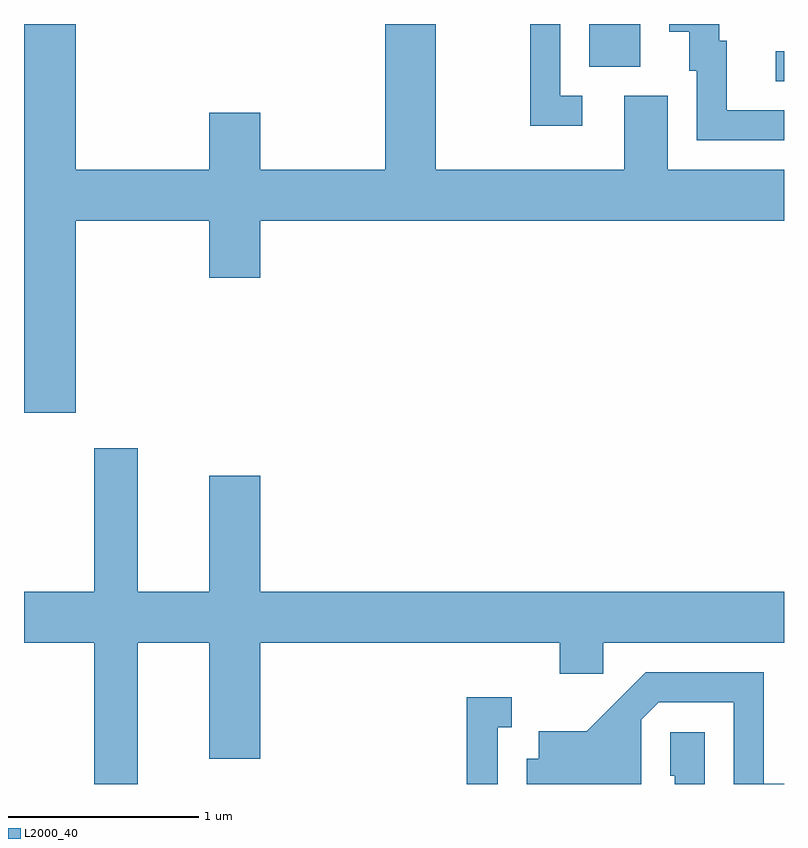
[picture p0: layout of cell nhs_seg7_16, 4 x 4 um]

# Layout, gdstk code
import gdstk
lib = gdstk.Library(unit=1e-6, precision=1e-09)
def R(c, l, rs):  # rectangles x0, y0, x1, y1
    for r in rs: c.add(gdstk.rectangle(r[:2], r[2:], *l))
def P(c, l, *ps):  # polygons
    for p in ps: c.add(gdstk.Polygon(p, *l))
L2000_40 = (2000, 40)

nhs_seg7_16 = lib.new_cell('nhs_seg7_16')
R(nhs_seg7_16, L2000_40, [(189.568,1703.951,189.611,1704.109), (188.586,1704.026,188.854,1704.252)])
P(nhs_seg7_16, L2000_40, [(185.884,1703.216),(186.586,1703.216),(186.586,1702.916),(186.854,1702.916),(186.854,1703.216),(189.611,1703.216),(189.611,1703.484),(188.999,1703.484),(188.999,1703.874),(188.771,1703.874),(188.771,1703.484),(187.779,1703.484),(187.779,1704.252),(187.511,1704.252),(187.511,1703.484),(186.854,1703.484),(186.854,1703.784),(186.586,1703.784),(186.586,1703.484),(185.884,1703.484),(185.884,1704.252),(185.611,1704.252),(185.611,1702.206),(185.884,1702.206)],
  [(189.611,1703.799),(189.309,1703.799),(189.309,1704.164),(189.269,1704.164),(189.269,1704.252),(189.006,1704.252),(189.006,1704.211),(189.111,1704.211),(189.111,1704.006),(189.151,1704.006),(189.151,1703.641),(189.611,1703.641)],
  [(188.548,1703.874),(188.434,1703.874),(188.434,1704.252),(188.276,1704.252),(188.276,1703.716),(188.548,1703.716)],
  [(186.209,1700.996),(186.586,1700.996),(186.586,1700.386),(186.854,1700.386),(186.854,1700.996),(188.431,1700.996),(188.431,1700.831),(188.659,1700.831),(188.659,1700.996),(189.611,1700.996),(189.611,1701.264),(186.854,1701.264),(186.854,1701.874),(186.586,1701.874),(186.586,1701.264),(186.209,1701.264),(186.209,1702.019),(185.981,1702.019),(185.981,1701.264),(185.611,1701.264),(185.611,1700.996),(185.981,1700.996),(185.981,1700.252),(186.209,1700.252)],
  [(188.859,1700.589),(188.952,1700.681),(189.346,1700.681),(189.346,1700.252),(189.611,1700.252),(189.611,1700.254),(189.504,1700.254),(189.504,1700.839),(188.884,1700.839),(188.574,1700.529),(188.321,1700.529),(188.321,1700.384),(188.256,1700.384),(188.256,1700.252),(188.859,1700.252)],
  [(188.104,1700.551),(188.178,1700.551),(188.178,1700.709),(187.941,1700.709),(187.941,1700.252),(188.104,1700.252)],
  [(189.194,1700.524),(189.011,1700.524),(189.011,1700.296),(189.036,1700.296),(189.036,1700.252),(189.194,1700.252)])

lib.write_gds('nhs_seg7_16.gds')
